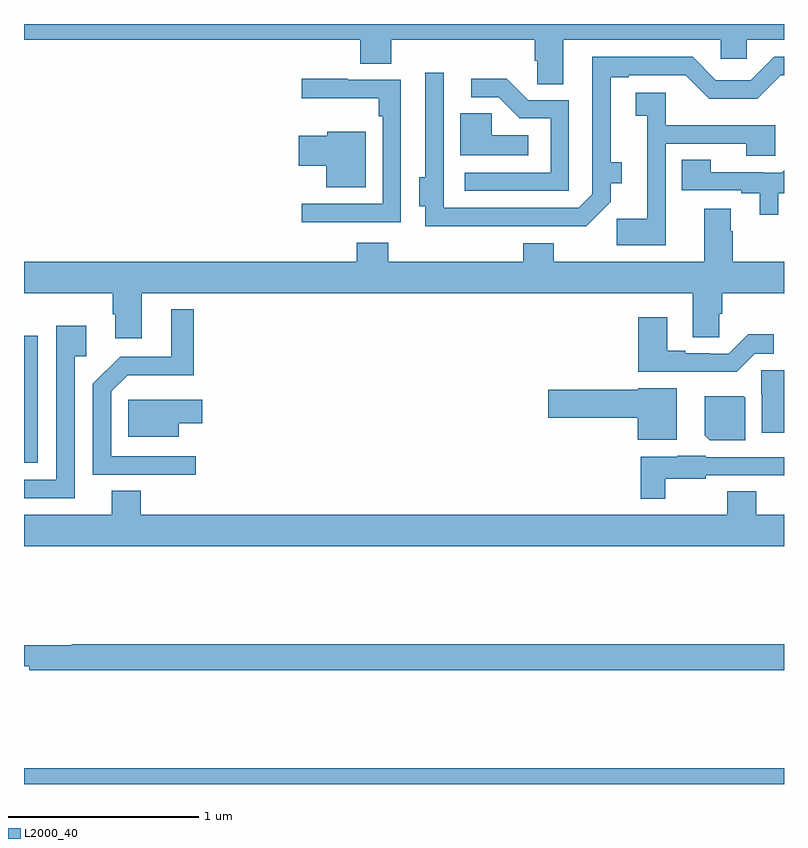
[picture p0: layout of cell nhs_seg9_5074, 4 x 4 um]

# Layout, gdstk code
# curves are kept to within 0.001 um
import gdstk
lib = gdstk.Library(unit=1e-6, precision=1e-09)
def R(c, l, rs):  # rectangles x0, y0, x1, y1
    for r in rs: c.add(gdstk.rectangle(r[:2], r[2:], *l))
def P(c, l, *ps):  # polygons
    for p in ps: c.add(gdstk.Polygon(p, *l))
L2000_40 = (2000, 40)

nhs_seg9_5074 = lib.new_cell('nhs_seg9_5074')
R(nhs_seg9_5074, L2000_40, [(405,1196.5,409,1196.584), (405,1198.19,405.073,1198.86)])
P(nhs_seg9_5074, L2000_40, [(407.839,1200.416),(408.666,1200.416),(408.666,1200.318),(408.804,1200.318),(408.804,1200.416),(409,1200.416),(409,1200.5),(405,1200.5),(405,1200.416),(406.769,1200.416),(406.769,1200.292),(406.934,1200.292),(406.934,1200.416),(407.687,1200.416),(407.687,1200.307),(407.7,1200.307),(407.7,1200.184),(407.839,1200.184)],
  [(407.543,1199.436),(407.959,1199.435),(408.089,1199.564),(408.089,1199.663),(408.145,1199.663),(408.145,1199.773),(408.088,1199.773),(408.088,1200.219),(408.184,1200.219),(408.184,1200.231),(408.482,1200.231),(408.606,1200.107),(408.86,1200.107),(408.984,1200.231),(409,1200.231),(409,1200.327),(408.948,1200.327),(408.825,1200.204),(408.642,1200.204),(408.519,1200.327),(407.991,1200.327),(407.991,1199.604),(407.919,1199.532),(407.208,1199.532),(407.208,1200.244),(407.112,1200.244),(407.112,1199.693),(407.081,1199.693),(407.081,1199.54),(407.112,1199.54),(407.112,1199.435)],
  [(407.868,1200.099),(407.655,1200.099),(407.542,1200.212),(407.355,1200.212),(407.355,1200.114),(407.499,1200.114),(407.61,1200.003),(407.772,1200.003),(407.772,1199.718),(407.319,1199.718),(407.319,1199.622),(407.868,1199.622)],
  [(406.983,1200.207),(406.705,1200.207),(406.705,1200.211),(406.461,1200.211),(406.461,1200.11),(406.867,1200.11),(406.867,1200.014),(406.887,1200.014),(406.887,1199.553),(406.461,1199.553),(406.461,1199.457),(406.983,1199.457)],
  [(408.378,1199.871),(408.802,1199.871),(408.802,1199.806),(408.955,1199.806),(408.955,1199.967),(408.845,1199.967),(408.845,1199.968),(408.378,1199.968),(408.378,1200.139),(408.219,1200.139),(408.219,1200.018),(408.281,1200.018),(408.281,1199.475),(408.12,1199.475),(408.12,1199.336),(408.378,1199.336)],
  [(407.653,1199.914),(407.461,1199.914),(407.461,1200.029),(407.297,1200.029),(407.297,1199.81),(407.653,1199.81)],
  [(406.798,1199.932),(406.596,1199.932),(406.596,1199.911),(406.446,1199.911),(406.446,1199.753),(406.592,1199.753),(406.592,1199.642),(406.798,1199.642)],
  [(408.97,1199.61),(409,1199.61),(409,1199.731),(408.987,1199.718),(408.887,1199.718),(408.887,1199.721),(408.615,1199.721),(408.615,1199.786),(408.463,1199.786),(408.463,1199.625),(408.776,1199.625),(408.776,1199.61),(408.872,1199.61),(408.872,1199.496),(408.97,1199.496)],
  [(405.619,1199.084),(408.521,1199.084),(408.521,1198.852),(408.66,1198.852),(408.66,1198.974),(408.674,1198.974),(408.674,1199.084),(409,1199.084),(409,1199.248),(408.729,1199.248),(408.729,1199.408),(408.721,1199.408),(408.721,1199.527),(408.581,1199.527),(408.581,1199.248),(407.787,1199.248),(407.787,1199.347),(407.627,1199.347),(407.627,1199.248),(406.916,1199.248),(406.916,1199.35),(406.751,1199.35),(406.751,1199.248),(405,1199.248),(405,1199.084),(405.467,1199.084),(405.467,1198.973),(405.479,1198.973),(405.479,1198.845),(405.619,1198.845)],
  [(405.904,1198.224),(405.459,1198.224),(405.459,1198.566),(405.545,1198.652),(405.893,1198.652),(405.893,1198.999),(405.776,1198.999),(405.776,1198.749),(405.506,1198.749),(405.363,1198.606),(405.363,1198.128),(405.904,1198.128)],
  [(408.846,1198.764),(408.946,1198.764),(408.946,1198.867),(408.811,1198.867),(408.708,1198.764),(408.608,1198.764),(408.608,1198.767),(408.481,1198.767),(408.481,1198.78),(408.385,1198.78),(408.385,1198.957),(408.233,1198.957),(408.233,1198.67),(408.751,1198.67)],
  [(405.267,1198.751),(405.328,1198.751),(405.328,1198.912),(405.171,1198.912),(405.171,1198.101),(405,1198.101),(405,1198.005),(405.267,1198.005)],
  [(409,1198.677),(408.88,1198.677),(408.88,1198.554),(408.884,1198.554),(408.884,1198.35),(409,1198.35)],
  [(408.436,1198.582),(408.234,1198.582),(408.234,1198.574),(407.76,1198.574),(407.76,1198.427),(408.23,1198.427),(408.23,1198.313),(408.436,1198.313)],
  [(408.796,1198.532),(408.788,1198.54),(408.584,1198.54),(408.584,1198.336),(408.61,1198.31),(408.796,1198.31)],
  [(405.814,1198.4),(405.937,1198.4),(405.937,1198.522),(405.549,1198.522),(405.549,1198.328),(405.814,1198.328)],
  [(408.376,1198.106),(408.588,1198.106),(408.588,1198.125),(409,1198.125),(409,1198.221),(408.588,1198.221),(408.588,1198.228),(408.438,1198.228),(408.438,1198.222),(408.247,1198.222),(408.247,1198.001),(408.376,1198.001)],
  [(409,1197.916),(408.855,1197.916),(408.855,1198.04),(408.7,1198.04),(408.7,1197.916),(405.614,1197.916),(405.614,1198.043),(405.461,1198.043),(405.461,1197.916),(405,1197.916),(405,1197.752),(409,1197.752)],
  [(409,1197.236),(405.251,1197.236),(405.251,1197.229),(405,1197.229),(405,1197.119),(405.028,1197.119),(405.028,1197.1),(409,1197.1)])

lib.write_gds('nhs_seg9_5074.gds')
